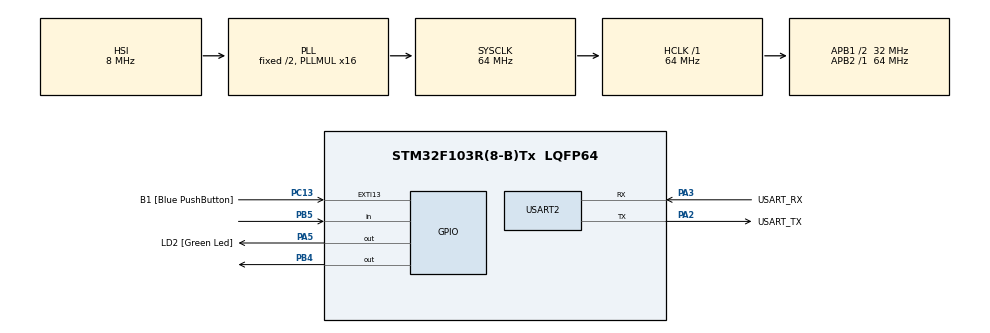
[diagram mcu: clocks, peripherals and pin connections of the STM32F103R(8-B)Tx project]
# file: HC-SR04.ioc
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Mcu.Family=STM32F1
Mcu.Name=STM32F103R(8-B)Tx
Mcu.Package=LQFP64
NVIC.PriorityGroup=NVIC_PRIORITYGROUP_4
PA13.GPIO_Label=TMS
PA13.Mode=Serial_Wire
PA13.Signal=SYS_JTMS-SWDIO
PA14.GPIO_Label=TCK
PA14.Mode=Serial_Wire
PA14.Signal=SYS_JTCK-SWCLK
PA2.GPIO_Label=USART_TX
PA2.GPIO_Mode=GPIO_MODE_AF_PP
PA2.GPIO_PuPd=GPIO_NOPULL
PA2.GPIO_Speed=GPIO_SPEED_FREQ_LOW
PA2.Mode=Asynchronous
PA2.Signal=USART2_TX
PA3.GPIO_Label=USART_RX
PA3.GPIO_Mode=GPIO_MODE_AF_PP
PA3.GPIO_PuPd=GPIO_NOPULL
PA3.GPIO_Speed=GPIO_SPEED_FREQ_LOW
PA3.Mode=Asynchronous
PA3.Signal=USART2_RX
PA5.GPIO_Label=LD2 [Green Led]
PA5.GPIO_ModeDefaultOutputPP=GPIO_MODE_OUTPUT_PP
PA5.GPIO_PuPd=GPIO_NOPULL
PA5.GPIO_Speed=GPIO_SPEED_FREQ_LOW
PA5.Signal=GPIO_Output
PB3.GPIO_Label=SWO
PB3.Signal=SYS_JTDO-TRACESWO
PB4.Signal=GPIO_Output
PB5.Signal=GPIO_Input
PC13-TAMPER-RTC.GPIO_Label=B1 [Blue PushButton]
PC13-TAMPER-RTC.GPIO_PuPd=GPIO_NOPULL
PC13-TAMPER-RTC.Signal=GPXTI13
PC14-OSC32_IN.Signal=RCC_OSC32_IN
PC15-OSC32_OUT.Signal=RCC_OSC32_OUT
PD0-OSC_IN.Signal=RCC_OSC_IN
PD1-OSC_OUT.Signal=RCC_OSC_OUT
ProjectManager.HeapSize=0x200
ProjectManager.StackSize=0x400
ProjectManager.TargetToolchain=STM32CubeIDE
RCC.AHBFreq_Value=64000000
RCC.APB1CLKDivider=RCC_HCLK_DIV2
RCC.APB1Freq_Value=32000000
RCC.APB1TimFreq_Value=64000000
RCC.APB2Freq_Value=64000000
RCC.APB2TimFreq_Value=64000000
RCC.HCLKFreq_Value=64000000
RCC.PLLMUL=RCC_PLL_MUL16
RCC.RTCClockSelection=RCC_RTCCLKSOURCE_LSE
RCC.SYSCLKFreq_VALUE=64000000
RCC.SYSCLKSource=RCC_SYSCLKSOURCE_PLLCLK
RCC.USBFreq_Value=64000000
TIM2.Period=65535
TIM2.Prescaler=64-1
USART2.VirtualMode=VM_ASYNC
VP_TIM2_VS_ClockSourceINT.Mode=Internal
board=NUCLEO-F103RB

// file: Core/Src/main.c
/* USER CODE BEGIN Header */
/**
  ******************************************************************************
  * @file           : main.c
  * @brief          : Main program body
  ******************************************************************************
  * @attention
  *
  * Copyright (c) 2026 STMicroelectronics.
  * All rights reserved.
  *
  * This software is licensed under terms that can be found in the LICENSE file
  * in the root directory of this software component.
  * If no LICENSE file comes with this software, it is provided AS-IS.
  *
  ******************************************************************************
  */
/* USER CODE END Header */
#include "main.h"

/* USER CODE BEGIN Includes */
#include "uart2_printf.h"
#include "delay_us.h"

/* USER CODE END Includes */

/* USER CODE BEGIN PD */
#define HIGH 1
#define LOW 0
/* USER CODE END PD */

TIM_HandleTypeDef htim2;

UART_HandleTypeDef huart2;

/* USER CODE BEGIN PV */
volatile unsigned long count = 0;
unsigned long echo_time = 0;
/* USER CODE END PV */

void SystemClock_Config(void);
static void MX_GPIO_Init(void);
static void MX_USART2_UART_Init(void);
static void MX_TIM2_Init(void);
/* USER CODE BEGIN PFP */
void trig(void);
unsigned long echo(void);
/* USER CODE END PFP */

int main(void)
{

  /* MCU Configuration--------------------------------------------------------*/

  /* Reset of all peripherals, Initializes the Flash interface and the Systick. */
  HAL_Init();

  /* Configure the system clock */
  SystemClock_Config();

  /* Initialize all configured peripherals */
  MX_GPIO_Init();
  MX_USART2_UART_Init();
  MX_TIM2_Init();
  /* USER CODE BEGIN 2 */
  printf("Distance Meter with HC_SR04!");
  HAL_TIM_Base_Start_(&htim2);
  /* USER CODE END 2 */

  /* Infinite loop */
  /* USER CODE BEGIN WHILE */
      while (1)
      {
    	trig();
    	echo_time = echo();
    	if( echo_time != 0 )
    	  {
    	   // speed ( 340 m/s ) = distance / time,

    	   // distance = speed x time
    	   // but echo_time is twice time

    	   // ( go to object & back to start position )
    	   // 2 x distance = 340 m/s x echo_time usec
    	   // distance = 170 m/sec x echo_time usec

    	   // = 170,000 mm/sec x echo_time sec / 1000000
    	   // distance = 17 x echo_time / 100 mm

    	    //dist = 17 * (echo_time / 100);
    	    printf("Distance = %lu (mm)\n", 17 * (echo_time / 100));
    	  }
    	  else printf("Out of Range~\n");
    	  HAL_Delay(1000);
    /* USER CODE END WHILE */

  }
}

void SystemClock_Config(void)
{
  RCC_OscInitTypeDef RCC_OscInitStruct = {0};
  RCC_ClkInitTypeDef RCC_ClkInitStruct = {0};

  /** Initializes the RCC Oscillators according to the specified parameters
  * in the RCC_OscInitTypeDef structure.
  */
  RCC_OscInitStruct.OscillatorType = RCC_OSCILLATORTYPE_HSI;
  RCC_OscInitStruct.HSIState = RCC_HSI_ON;
  RCC_OscInitStruct.HSICalibrationValue = RCC_HSICALIBRATION_DEFAULT;
  RCC_OscInitStruct.PLL.PLLState = RCC_PLL_ON;
  RCC_OscInitStruct.PLL.PLLSource = RCC_PLLSOURCE_HSI_DIV2;
  RCC_OscInitStruct.PLL.PLLMUL = RCC_PLL_MUL16;
  if (HAL_RCC_OscConfig(&RCC_OscInitStruct) != HAL_OK)
  {
    Error_Handler();
  }

  /** Initializes the CPU, AHB and APB buses clocks
  */
  RCC_ClkInitStruct.ClockType = RCC_CLOCKTYPE_HCLK|RCC_CLOCKTYPE_SYSCLK
                              |RCC_CLOCKTYPE_PCLK1|RCC_CLOCKTYPE_PCLK2;
  RCC_ClkInitStruct.SYSCLKSource = RCC_SYSCLKSOURCE_PLLCLK;
  RCC_ClkInitStruct.AHBCLKDivider = RCC_SYSCLK_DIV1;
  RCC_ClkInitStruct.APB1CLKDivider = RCC_HCLK_DIV2;
  RCC_ClkInitStruct.APB2CLKDivider = RCC_HCLK_DIV1;

  if (HAL_RCC_ClockConfig(&RCC_ClkInitStruct, FLASH_LATENCY_2) != HAL_OK)
  {
    Error_Handler();
  }
}

static void MX_TIM2_Init(void)
{

  TIM_ClockConfigTypeDef sClockSourceConfig = {0};
  TIM_MasterConfigTypeDef sMasterConfig = {0};

  htim2.Instance = TIM2;
  htim2.Init.Prescaler = 64-1;
  htim2.Init.CounterMode = TIM_COUNTERMODE_UP;
  htim2.Init.Period = 65535;
  htim2.Init.ClockDivision = TIM_CLOCKDIVISION_DIV1;
  htim2.Init.AutoReloadPreload = TIM_AUTORELOAD_PRELOAD_DISABLE;
  if (HAL_TIM_Base_Init(&htim2) != HAL_OK)
  {
    Error_Handler();
  }
  sClockSourceConfig.ClockSource = TIM_CLOCKSOURCE_INTERNAL;
  if (HAL_TIM_ConfigClockSource(&htim2, &sClockSourceConfig) != HAL_OK)
  {
    Error_Handler();
  }
  sMasterConfig.MasterOutputTrigger = TIM_TRGO_RESET;
  sMasterConfig.MasterSlaveMode = TIM_MASTERSLAVEMODE_DISABLE;
  if (HAL_TIMEx_MasterConfigSynchronization(&htim2, &sMasterConfig) != HAL_OK)
  {
    Error_Handler();
  }

}

static void MX_USART2_UART_Init(void)
{

  huart2.Instance = USART2;
  huart2.Init.BaudRate = 115200;
  huart2.Init.WordLength = UART_WORDLENGTH_8B;
  huart2.Init.StopBits = UART_STOPBITS_1;
  huart2.Init.Parity = UART_PARITY_NONE;
  huart2.Init.Mode = UART_MODE_TX_RX;
  huart2.Init.HwFlowCtl = UART_HWCONTROL_NONE;
  huart2.Init.OverSampling = UART_OVERSAMPLING_16;
  if (HAL_UART_Init(&huart2) != HAL_OK)
  {
    Error_Handler();
  }

}

static void MX_GPIO_Init(void)
{
  GPIO_InitTypeDef GPIO_InitStruct = {0};

  /* GPIO Ports Clock Enable */
  __HAL_RCC_GPIOC_CLK_ENABLE();
  __HAL_RCC_GPIOD_CLK_ENABLE();
  __HAL_RCC_GPIOA_CLK_ENABLE();
  __HAL_RCC_GPIOB_CLK_ENABLE();

  /*Configure GPIO pin Output Level */
  HAL_GPIO_WritePin(LD2_GPIO_Port, LD2_Pin, GPIO_PIN_RESET);

  /*Configure GPIO pin Output Level */
  HAL_GPIO_WritePin(GPIOB, GPIO_PIN_4, GPIO_PIN_RESET);

  /*Configure GPIO pin : B1_Pin */
  GPIO_InitStruct.Pin = B1_Pin;
  GPIO_InitStruct.Mode = GPIO_MODE_IT_RISING;
  GPIO_InitStruct.Pull = GPIO_NOPULL;
  HAL_GPIO_Init(B1_GPIO_Port, &GPIO_InitStruct);

  /*Configure GPIO pin : LD2_Pin */
  GPIO_InitStruct.Pin = LD2_Pin;
  GPIO_InitStruct.Mode = GPIO_MODE_OUTPUT_PP;
  GPIO_InitStruct.Pull = GPIO_NOPULL;
  GPIO_InitStruct.Speed = GPIO_SPEED_FREQ_LOW;
  HAL_GPIO_Init(LD2_GPIO_Port, &GPIO_InitStruct);

  /*Configure GPIO pin : PB4 */
  GPIO_InitStruct.Pin = GPIO_PIN_4;
  GPIO_InitStruct.Mode = GPIO_MODE_OUTPUT_PP;
  GPIO_InitStruct.Pull = GPIO_NOPULL;
  GPIO_InitStruct.Speed = GPIO_SPEED_FREQ_LOW;
  HAL_GPIO_Init(GPIOB, &GPIO_InitStruct);

  /*Configure GPIO pin : PB5 */
  GPIO_InitStruct.Pin = GPIO_PIN_5;
  GPIO_InitStruct.Mode = GPIO_MODE_INPUT;
  GPIO_InitStruct.Pull = GPIO_NOPULL;
  HAL_GPIO_Init(GPIOB, &GPIO_InitStruct);

}

/* USER CODE BEGIN 4 */
void trig()
{
	HAL_GPIO_WritePin(GPIOB, GPIO_PIN_4, HIGH);
	delay_us(10);
	HAL_GPIO_WritePin(GPIOB, GPIO_PIN_4, LOW);
}

unsigned long echo()
{
	unsigned long echo = 0;
	while(HAL_GPIO_ReadPin(GPIOB, GPIO_PIN_5)== LOW);
	unsigned long start = __HAL_TIM_GET_COUNTER(&htim2);
	while(HAL_GPIO_ReadPin(GPIOB, GPIO_PIN_5)== HIGH);
	unsigned long end = __HAL_TIM_GET_COUNTER(&htim2);

	echo =(uint16_t)(end - start);

	if( echo >= 240 && echo <= 23000 )
		return echo;
	else
		return 0;
}
/* USER CODE END 4 */

void Error_Handler(void)
{
  __disable_irq();
  while (1)
  {
  }
}
